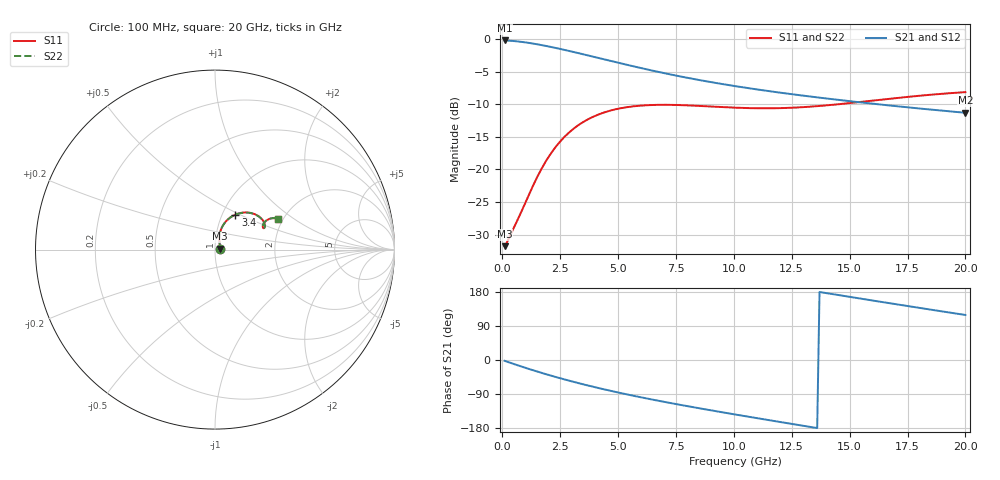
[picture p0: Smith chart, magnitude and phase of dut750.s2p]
! Touchstone file exported from HFSS 2024.1.0
!  File:  C:/UserFiles/LocalFiles/RDL_TSV_Batchsim/temp_RDL_TSV_750_1779897530.aedt
!  Generated:  12:16:03 AM May 28, 2026
!  Design:  RDL_TSV
!  Project:  temp_RDL_TSV_750_1779897530
!  Setup:  Setup1
!  Solution:  Sweep
! Variables:
!  dtsv = 10.25um
!  hbump = 3um
!  htsv = 69.35um
!  ldown = 344.35um
!  lrdl = 627.69um
!  p = 40
!  p1 = 57.9um
!  rhole = 10um
!  subl = 3543.81um
!  t = 450um
!  tdown = 2.81um
!  trdl = 2.2um
!  viad = 10um
!  wdown = 17.21um
!  wrdl = 22.97um
!  xbump = 18um
# GHz S MA R 50.000000
! Terminal data exported
! Port[1] = TM1_1_T1
! Port[2] = TM1_4_T1
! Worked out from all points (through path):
!   200 points, 100 MHz to 20 GHz, reference 50 ohm
!   highest |S21| = -0.23 dB at 100 MHz (marker M1); lowest = -11.3 dB at 20 GHz (marker M2)
!   group delay of S21, straight-line fit = 31.5 ps
!   lowest |S11| = -31.8 dB at 100 MHz (marker M3), VSWR 1.05, Z = 52.6 + j0.554 ohm
!   |S11| at or under -10 dB: start of sweep to 14.53 GHz
!   |S22| runs from -31.8 to -8.2 dB; largest |S21 - S12| = 4e-14
!   S11 on the Smith chart (normalised r, x): 100 MHz: 1.05, +0.01; 3.4 GHz: 1.15, +0.47; 20 GHz: 1.88, +0.76
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0.1  0.02581 11.8  0.9743 -2.2  0.9743 -2.2  0.02581 11.8
! Gamma 0 0 0 0
! Port Impedance 50 0 50 0
0.4  0.03288 36.9  0.9676 -8.5  0.9676 -8.5  0.03289 36.9
0.8  0.04644 57.0  0.9517 -16.7  0.9517 -16.7  0.04644 56.9
1.3  0.07324 70.6  0.9242 -26.5  0.9242 -26.5  0.07318 70.5
1.7  0.1016 73.6  0.8978 -34.0  0.8978 -34.0  0.1015 73.5
2.1  0.1327 72.6  0.8691 -41.2  0.8691 -41.2  0.1325 72.5
2.5  0.1638 69.5  0.8391 -48.2  0.8391 -48.2  0.1635 69.4
2.9  0.1931 65.4  0.8086 -54.8  0.8086 -54.8  0.1927 65.3
3.4  0.2255 59.8  0.7707 -62.7  0.7707 -62.7  0.225 59.8
3.5  0.2313 58.7  0.7632 -64.3  0.7632 -64.3  0.2308 58.6
4.2  0.2657 51.2  0.7121 -74.7  0.7121 -74.7  0.265 51.1
5.1  0.2943 42.6  0.6515 -87.1  0.6515 -87.1  0.2935 42.6
5.9  0.3076 36.4  0.6036 -97.4  0.6036 -97.4  0.3068 36.4
6.8  0.3128 31.0  0.5564 -108.2  0.5564 -108.2  0.3119 31.0
8.4  0.3076 25.2  0.4884 -126.2  0.4884 -126.2  0.3067 25.2
10.1  0.2973 23.7  0.4339 -144.2  0.4339 -144.2  0.2964 23.6
11.7  0.2944 25.1  0.3942 -160.6  0.3942 -160.6  0.2935 25.1
13.4  0.3037 27.7  0.3603 -177.6  0.3603 -177.6  0.3029 27.7
15.1  0.3239 29.4  0.3322 165.6  0.3322 165.6  0.3233 29.4
16.7  0.3478 29.5  0.3095 150.1  0.3095 150.1  0.3472 29.5
18.3  0.3712 28.2  0.2899 134.8  0.2899 134.8  0.3707 28.2
20  0.3914 26.0  0.272 118.8  0.272 118.8  0.391 26.0
